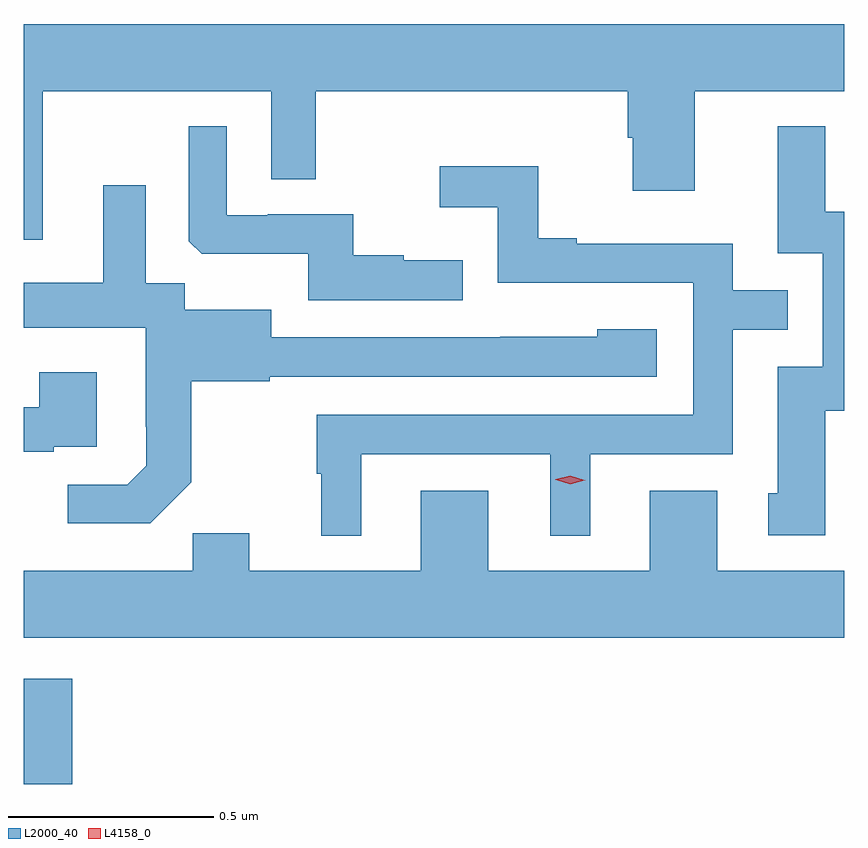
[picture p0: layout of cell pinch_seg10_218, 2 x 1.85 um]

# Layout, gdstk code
import gdstk
lib = gdstk.Library(unit=1e-6, precision=1e-09)
def R(c, l, rs):  # rectangles x0, y0, x1, y1
    for r in rs: c.add(gdstk.rectangle(r[:2], r[2:], *l))
def P(c, l, *ps):  # polygons
    for p in ps: c.add(gdstk.Polygon(p, *l))
L2000_40 = (2000, 40)
L4158_0 = (4158, 0)

pinch_seg10_218 = lib.new_cell('pinch_seg10_218')
R(pinch_seg10_218, L2000_40, [(840.675,1273.32,840.793,1273.576)])
P(pinch_seg10_218, L2000_40, [(840.675,1274.646),(840.721,1274.646),(840.721,1275.008),(841.278,1275.008),(841.278,1274.794),(841.387,1274.794),(841.387,1275.008),(842.147,1275.008),(842.147,1274.895),(842.159,1274.895),(842.159,1274.766),(842.311,1274.766),(842.311,1275.008),(842.675,1275.008),(842.675,1275.172),(840.675,1275.172)],
  [(842.629,1274.229),(842.675,1274.229),(842.675,1274.714),(842.629,1274.714),(842.629,1274.923),(842.513,1274.923),(842.513,1274.613),(842.622,1274.613),(842.622,1274.337),(842.513,1274.337),(842.513,1274.028),(842.489,1274.028),(842.489,1273.926),(842.629,1273.926)],
  [(841.745,1274.596),(841.601,1274.596),(841.601,1274.608),(841.478,1274.608),(841.478,1274.709),(841.27,1274.709),(841.27,1274.706),(841.17,1274.706),(841.17,1274.923),(841.077,1274.923),(841.077,1274.643),(841.109,1274.612),(841.368,1274.612),(841.368,1274.499),(841.745,1274.499)],
  [(841.498,1274.124),(841.958,1274.124),(841.958,1273.925),(842.056,1273.925),(842.056,1274.124),(842.403,1274.124),(842.403,1274.427),(842.537,1274.427),(842.537,1274.523),(842.403,1274.523),(842.403,1274.637),(842.023,1274.637),(842.023,1274.65),(841.929,1274.65),(841.929,1274.825),(841.689,1274.825),(841.689,1274.726),(841.83,1274.726),(841.83,1274.541),(842.307,1274.541),(842.307,1274.22),(841.389,1274.22),(841.389,1274.076),(841.4,1274.076),(841.4,1273.925),(841.498,1273.925)],
  [(841.083,1274.055),(841.083,1274.301),(841.275,1274.301),(841.275,1274.313),(842.218,1274.313),(842.218,1274.428),(842.073,1274.428),(842.073,1274.41),(841.837,1274.41),(841.837,1274.409),(841.279,1274.409),(841.279,1274.476),(841.068,1274.476),(841.068,1274.54),(840.973,1274.54),(840.973,1274.779),(840.869,1274.779),(840.869,1274.542),(840.675,1274.542),(840.675,1274.432),(840.972,1274.432),(840.972,1274.191),(840.974,1274.191),(840.974,1274.096),(840.927,1274.049),(840.783,1274.049),(840.783,1273.955),(840.983,1273.955)],
  [(840.749,1274.142),(840.853,1274.142),(840.853,1274.323),(840.713,1274.323),(840.713,1274.238),(840.675,1274.238),(840.675,1274.13),(840.749,1274.13)],
  [(842.675,1273.84),(842.365,1273.84),(842.365,1274.035),(842.201,1274.035),(842.201,1273.84),(841.807,1273.84),(841.807,1274.035),(841.643,1274.035),(841.643,1273.84),(841.225,1273.84),(841.225,1273.931),(841.087,1273.931),(841.087,1273.84),(840.675,1273.84),(840.675,1273.676),(842.675,1273.676)])
P(pinch_seg10_218, L4158_0, [(842.007,1274.051),(841.972,1274.062),(841.971,1274.062),(841.972,1274.063),(842.007,1274.071),(842.042,1274.06),(842.043,1274.06),(842.042,1274.06)])

lib.write_gds('pinch_seg10_218.gds')
